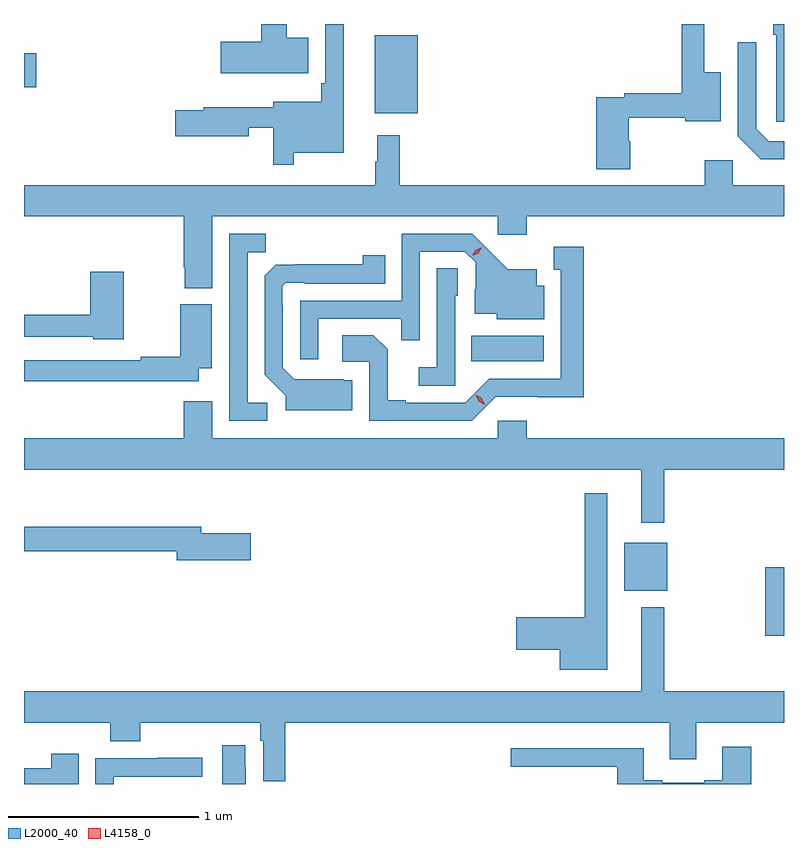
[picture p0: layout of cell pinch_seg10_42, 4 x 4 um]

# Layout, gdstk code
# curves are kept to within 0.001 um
import gdstk
lib = gdstk.Library(unit=1e-6, precision=1e-09)
def R(c, l, rs):  # rectangles x0, y0, x1, y1
    for r in rs: c.add(gdstk.rectangle(r[:2], r[2:], *l))
def P(c, l, *ps):  # polygons
    for p in ps: c.add(gdstk.Polygon(p, *l))
L2000_40 = (2000, 40)
L4158_0 = (4158, 0)

pinch_seg10_42 = lib.new_cell('pinch_seg10_42')
R(pinch_seg10_42, L2000_40, [(732.986,1287.454,733.086,1287.814), (732.245,1287.689,732.472,1287.943), (731.44,1288.898,731.821,1289.032), (730.931,1290.203,731.158,1290.613), (729.086,1290.341,729.151,1290.519)])
P(pinch_seg10_42, L2000_40, [(732.276,1290.057),(732.268,1290.057),(732.268,1290.18),(732.566,1290.18),(732.566,1290.161),(732.754,1290.161),(732.754,1290.418),(732.665,1290.418),(732.665,1290.673),(732.547,1290.673),(732.547,1290.308),(732.244,1290.308),(732.244,1290.288),(732.098,1290.288),(732.098,1289.909),(732.276,1289.909)],
  [(730.582,1290.601),(730.468,1290.601),(730.468,1290.673),(730.334,1290.673),(730.334,1290.579),(730.122,1290.579),(730.122,1290.413),(730.582,1290.413)],
  [(733.086,1290.673),(733.029,1290.673),(733.029,1290.617),(733.044,1290.617),(733.044,1290.159),(733.086,1290.159)],
  [(730.507,1289.996),(730.768,1289.996),(730.768,1290.673),(730.671,1290.673),(730.671,1290.361),(730.651,1290.361),(730.651,1290.265),(730.397,1290.265),(730.397,1290.235),(730.031,1290.235),(730.031,1290.218),(729.882,1290.218),(729.882,1290.083),(730.27,1290.083),(730.27,1290.126),(730.398,1290.126),(730.398,1289.931),(730.507,1289.931)],
  [(733.086,1290.057),(733.005,1290.057),(732.939,1290.123),(732.939,1290.577),(732.843,1290.577),(732.843,1290.081),(732.964,1289.96),(733.086,1289.96)],
  [(730.078,1289.66),(731.58,1289.66),(731.58,1289.565),(731.732,1289.565),(731.732,1289.66),(733.086,1289.66),(733.086,1289.824),(732.816,1289.824),(732.816,1289.956),(732.67,1289.956),(732.67,1289.824),(731.063,1289.824),(731.063,1290.088),(730.946,1290.088),(730.946,1289.948),(730.935,1289.948),(730.935,1289.824),(729.086,1289.824),(729.086,1289.66),(729.926,1289.66),(729.926,1289.392),(729.931,1289.392),(729.931,1289.282),(730.078,1289.282)],
  [(730.635,1289.121),(731.071,1289.121),(731.071,1289.008),(731.169,1289.008),(731.169,1289.475),(731.406,1289.475),(731.463,1289.418),(731.463,1289.276),(731.459,1289.276),(731.459,1289.147),(731.574,1289.147),(731.574,1289.12),(731.824,1289.12),(731.824,1289.296),(731.785,1289.296),(731.785,1289.383),(731.633,1289.383),(731.446,1289.568),(731.073,1289.568),(731.073,1289.217),(730.539,1289.217),(730.539,1288.908),(730.635,1288.908)],
  [(730.366,1288.68),(730.263,1288.68),(730.263,1289.473),(730.359,1289.473),(730.359,1289.568),(730.167,1289.568),(730.167,1288.584),(730.366,1288.584)],
  [(731.568,1288.71),(732.031,1288.709),(732.031,1289.5),(731.873,1289.5),(731.873,1289.379),(731.912,1289.379),(731.912,1288.806),(731.535,1288.806),(731.409,1288.68),(731.095,1288.68),(731.095,1288.693),(731.001,1288.693),(731.001,1288.96),(730.925,1289.036),(730.761,1289.036),(730.761,1288.896),(730.902,1288.896),(730.902,1288.584),(731.442,1288.584)],
  [(730.813,1288.798),(730.772,1288.798),(730.766,1288.804),(730.509,1288.803),(730.449,1288.863),(730.449,1289.192),(730.446,1289.192),(730.446,1289.292),(730.464,1289.31),(730.564,1289.31),(730.564,1289.307),(730.988,1289.307),(730.988,1289.455),(730.87,1289.455),(730.87,1289.408),(730.412,1289.407),(730.353,1289.348),(730.353,1288.826),(730.463,1288.716),(730.463,1288.64),(730.813,1288.64)],
  [(731.355,1289.244),(731.37,1289.244),(731.37,1289.387),(731.259,1289.387),(731.259,1288.867),(731.163,1288.867),(731.163,1288.77),(731.355,1288.77)],
  [(729.612,1289.368),(729.434,1289.368),(729.434,1289.144),(729.086,1289.144),(729.086,1289.028),(729.45,1289.028),(729.45,1289.015),(729.612,1289.015)],
  [(730.005,1288.862),(730.075,1288.862),(730.075,1289.197),(729.908,1289.197),(729.908,1288.922),(729.7,1288.922),(729.7,1288.902),(729.086,1288.902),(729.086,1288.794),(730.005,1288.794)],
  [(732.457,1288.328),(733.086,1288.328),(733.086,1288.492),(731.732,1288.492),(731.732,1288.585),(731.58,1288.585),(731.58,1288.492),(730.078,1288.492),(730.078,1288.687),(729.926,1288.687),(729.926,1288.492),(729.086,1288.492),(729.086,1288.328),(732.335,1288.328),(732.335,1288.047),(732.457,1288.047)],
  [(732.157,1288.204),(732.036,1288.204),(732.036,1287.551),(731.676,1287.551),(731.676,1287.38),(731.906,1287.38),(731.906,1287.275),(732.157,1287.275)],
  [(730.279,1287.993),(730.018,1287.993),(730.018,1288.027),(729.086,1288.027),(729.086,1287.898),(729.89,1287.898),(729.89,1287.851),(730.279,1287.851)],
  [(730.46,1286.996),(732.485,1286.996),(732.485,1286.802),(732.625,1286.802),(732.625,1286.996),(733.086,1286.996),(733.086,1287.16),(732.457,1287.16),(732.457,1287.604),(732.335,1287.604),(732.335,1287.16),(729.086,1287.16),(729.086,1286.996),(729.539,1286.996),(729.539,1286.897),(729.699,1286.897),(729.699,1286.996),(730.329,1286.996),(730.329,1286.9),(730.344,1286.9),(730.344,1286.688),(730.46,1286.688)],
  [(730.252,1286.765),(730.251,1286.765),(730.251,1286.878),(730.13,1286.878),(730.13,1286.673),(730.252,1286.673)],
  [(732.914,1286.869),(732.761,1286.869),(732.761,1286.692),(732.665,1286.692),(732.665,1286.679),(732.445,1286.679),(732.445,1286.692),(732.349,1286.692),(732.349,1286.86),(731.649,1286.86),(731.649,1286.763),(732.209,1286.763),(732.209,1286.673),(732.914,1286.673)],
  [(729.373,1286.833),(729.23,1286.833),(729.23,1286.755),(729.086,1286.755),(729.086,1286.673),(729.373,1286.673)],
  [(729.558,1286.712),(730.024,1286.712),(730.024,1286.81),(729.787,1286.81),(729.787,1286.808),(729.462,1286.808),(729.462,1286.673),(729.558,1286.673)])
P(pinch_seg10_42, L4158_0, [(731.512,1288.669),(731.48,1288.688),(731.464,1288.721),(731.464,1288.721),(731.464,1288.721),(731.495,1288.702),(731.512,1288.669),(731.512,1288.669)],
  [(731.446,1289.452),(731.446,1289.452),(731.463,1289.482),(731.494,1289.497),(731.494,1289.497),(731.494,1289.497),(731.477,1289.467),(731.446,1289.452)])

lib.write_gds('pinch_seg10_42.gds')
